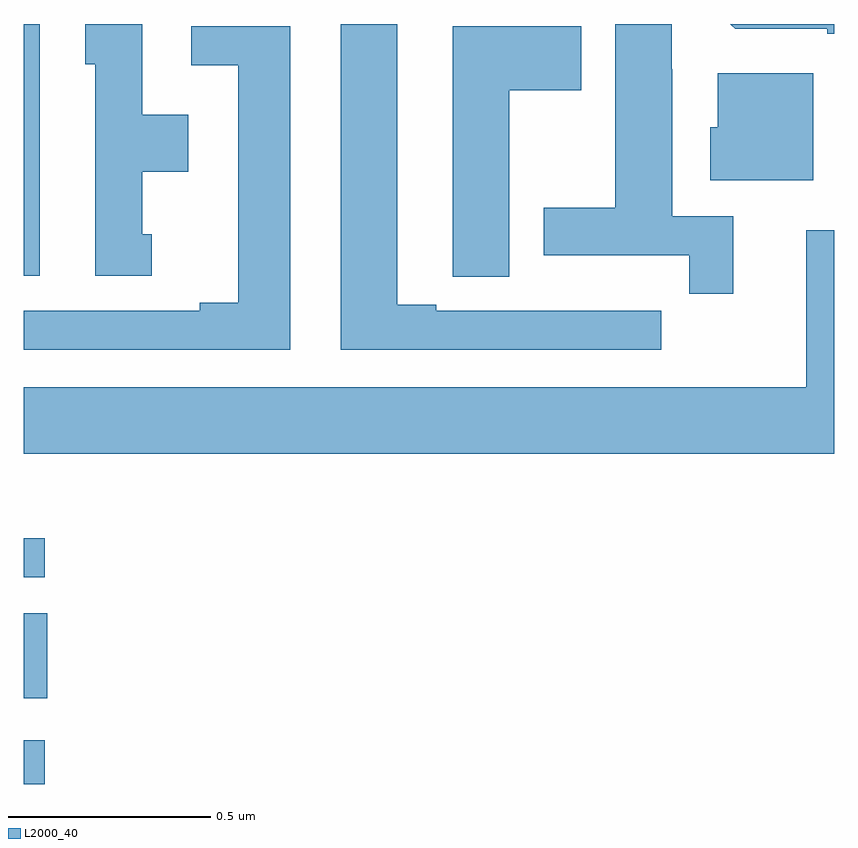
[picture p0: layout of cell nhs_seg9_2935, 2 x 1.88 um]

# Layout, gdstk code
import gdstk
lib = gdstk.Library(unit=1e-6, precision=1e-09)
def R(c, l, rs):  # rectangles x0, y0, x1, y1
    for r in rs: c.add(gdstk.rectangle(r[:2], r[2:], *l))
def P(c, l, *ps):  # polygons
    for p in ps: c.add(gdstk.Polygon(p, *l))
L2000_40 = (2000, 40)

nhs_seg9_2935 = lib.new_cell('nhs_seg9_2935')
R(nhs_seg9_2935, L2000_40, [(147,1175.625,147.052,1175.733), (147,1175.837,147.058,1176.046), (147,1176.135,147.052,1176.231), (147,1176.879,147.04,1177.5)])
P(nhs_seg9_2935, L2000_40, [(149,1177.5),(148.743,1177.5),(148.755,1177.488),(148.982,1177.488),(148.982,1177.476),(149,1177.476)],
  [(147.316,1176.981),(147.292,1176.981),(147.292,1177.136),(147.406,1177.136),(147.406,1177.276),(147.292,1177.276),(147.292,1177.499),(147.152,1177.499),(147.152,1177.401),(147.176,1177.401),(147.176,1176.879),(147.316,1176.879)],
  [(148.751,1177.026),(148.6,1177.026),(148.6,1177.388),(148.599,1177.388),(148.599,1177.499),(148.46,1177.499),(148.46,1177.047),(148.283,1177.047),(148.283,1176.93),(148.642,1176.93),(148.642,1176.834),(148.751,1176.834)],
  [(148.573,1176.792),(148.46,1176.792),(148.46,1176.793),(148.294,1176.793),(148.294,1176.792),(148.018,1176.792),(148.018,1176.807),(147.922,1176.807),(147.922,1177.499),(147.782,1177.499),(147.782,1176.696),(148.573,1176.696)],
  [(148.198,1177.336),(148.375,1177.336),(148.375,1177.495),(148.058,1177.495),(148.058,1176.985),(148.059,1176.985),(148.059,1176.877),(148.198,1176.877)],
  [(147.658,1177.494),(147.414,1177.494),(147.414,1177.398),(147.53,1177.398),(147.53,1176.812),(147.434,1176.812),(147.434,1176.792),(147,1176.792),(147,1176.696),(147.658,1176.696)],
  [(148.948,1177.378),(148.712,1177.378),(148.712,1177.245),(148.694,1177.245),(148.694,1177.115),(148.948,1177.115)],
  [(149,1176.991),(148.931,1176.991),(148.931,1176.604),(147,1176.604),(147,1176.44),(149,1176.44)])

lib.write_gds('nhs_seg9_2935.gds')
